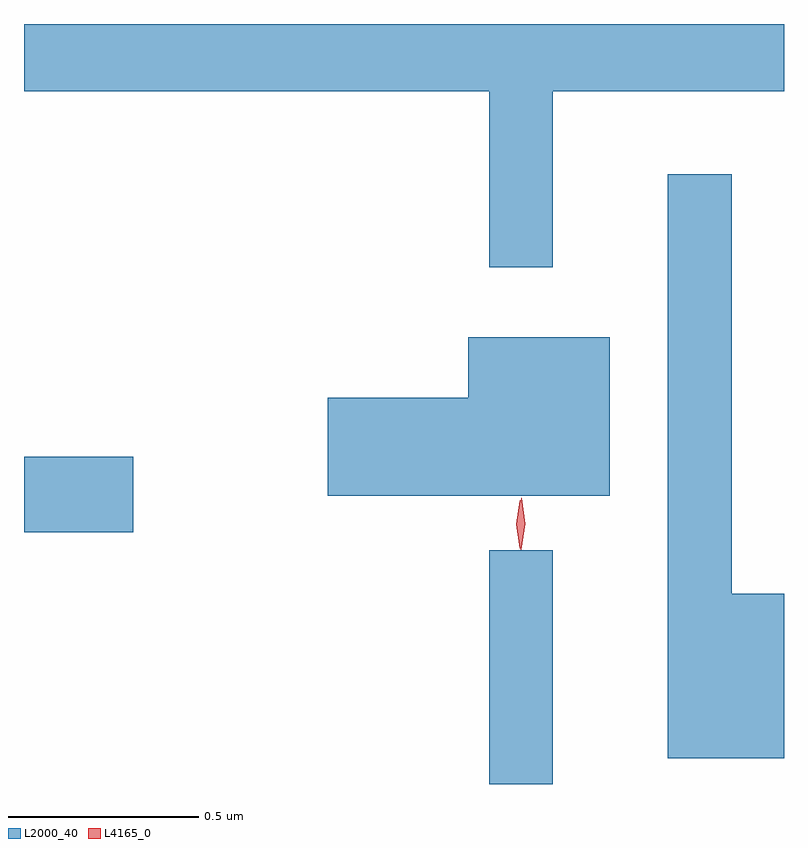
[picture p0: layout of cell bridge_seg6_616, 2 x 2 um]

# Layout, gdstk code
import gdstk
lib = gdstk.Library(unit=1e-6, precision=1e-09)
def R(c, l, rs):  # rectangles x0, y0, x1, y1
    for r in rs: c.add(gdstk.rectangle(r[:2], r[2:], *l))
def P(c, l, *ps):  # polygons
    for p in ps: c.add(gdstk.Polygon(p, *l))
L2000_40 = (2000, 40)
L4165_0 = (4165, 0)

bridge_seg6_616 = lib.new_cell('bridge_seg6_616')
R(bridge_seg6_616, L2000_40, [(473.241,1603.713,473.409,1604.328), (472.017,1604.376,472.304,1604.574)])
P(bridge_seg6_616, L2000_40, [(473.409,1605.536),(474.017,1605.536),(474.017,1605.713),(472.017,1605.713),(472.017,1605.536),(473.241,1605.536),(473.241,1605.073),(473.409,1605.073)],
  [(474.017,1604.214),(473.879,1604.214),(473.879,1605.318),(473.711,1605.318),(473.711,1603.781),(474.017,1603.781)],
  [(473.559,1604.889),(473.186,1604.889),(473.186,1604.729),(472.816,1604.729),(472.816,1604.471),(473.559,1604.471)])
P(bridge_seg6_616, L4165_0, [(473.324,1604.33),(473.316,1604.398),(473.326,1604.465),(473.327,1604.466),(473.327,1604.465),(473.336,1604.398),(473.326,1604.33),(473.325,1604.33)],
  [(473.322,1604.333),(473.313,1604.396),(473.322,1604.459),(473.323,1604.46),(473.323,1604.459),(473.333,1604.396),(473.323,1604.333),(473.323,1604.333)])

lib.write_gds('bridge_seg6_616.gds')
